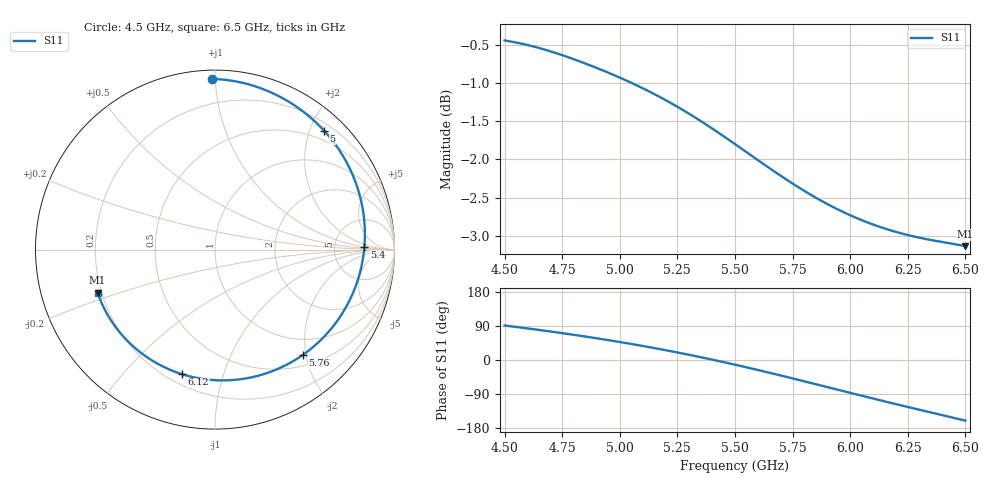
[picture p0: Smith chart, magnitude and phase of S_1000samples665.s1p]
! TOUCHSTONE file generated by CST MICROWAVE STUDIO
! Date and time: Fri Oct 28 23:11:53 2022
! Project name: L.cst
! Parameters = {Di=1.27; Epsilon_r=1.56; InnerDiameter=1.27; Length=2; Lf=10; Lg=60; OuterConductorThickness=0.2921; OuterDiameter=3.6; Wf=3; Wp=41.2; de=1.5; df=6.8; g=0.8; gx=4.25264; gy=3.06854; h=2.34; hf=1.524; px=11.722; py=11.9686; w=9.7; wx=7.46937; wy=8.90008}
! Header version: 2018
! Port assignment regex: !\s*Touchstone port\s*([0-9]+)\s*=\s*(CST MWS port|CST DS port)\s*([0-9]+|Zmin|Zmax)\s*\(\"(.*)\"\)(\s*mode\s*([0-9]+))?.*
! Touchstone port assignment:
! Touchstone port 1 = CST MWS port 1 ("")
# GHz S DB R 50
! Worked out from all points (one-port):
!   101 points, 4.5 GHz to 6.5 GHz, reference 50 ohm
!   lowest |S11| = -3.1 dB at 6.5 GHz (marker M1), VSWR 5.59, Z = 9.21 - j8.58 ohm
!   |S11| at or under -10 dB: nowhere
!   S11 on the Smith chart (normalised r, x): 4.5 GHz: 0.05, +0.98; 5 GHz: 0.32, +2.24; 5.4 GHz: 11, +1; 5.76 GHz: 0.69, -1.94; 6.12 GHz: 0.26, -0.74; 6.5 GHz: 0.18, -0.17
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4.5  -0.44 91.0
4.64  -0.53 80.1
4.76  -0.64 69.9
4.88  -0.77 59.1
5  -0.92 47.5
5.06  -1.01 41.3
5.14  -1.13 32.6
5.2  -1.22 25.8
5.26  -1.32 18.7
5.34  -1.47 8.8
5.4  -1.59 1.1
5.5  -1.80 -12.4
5.56  -1.92 -20.8
5.62  -2.05 -29.4
5.68  -2.18 -38.2
5.76  -2.34 -50.1
5.82  -2.45 -59.2
5.88  -2.55 -68.3
5.94  -2.65 -77.5
6  -2.73 -86.6
6.06  -2.81 -95.7
6.12  -2.88 -104.8
6.18  -2.94 -113.7
6.26  -3.00 -125.4
6.32  -3.04 -134.1
6.38  -3.07 -142.7
6.44  -3.11 -151.3
6.5  -3.14 -159.9
